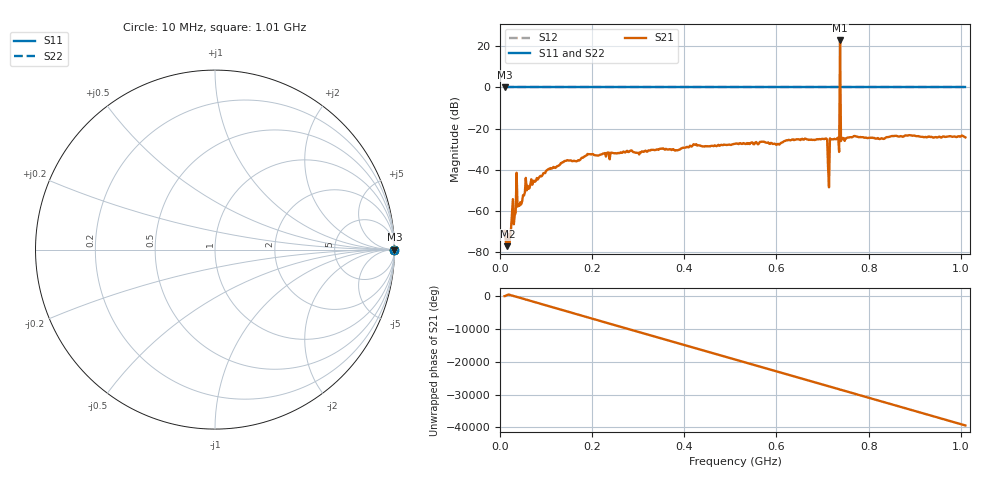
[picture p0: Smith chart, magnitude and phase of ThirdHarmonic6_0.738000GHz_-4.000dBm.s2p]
! 8/16/2025 12:41:16 AM
! C:\ANRITSUVNA\TEMP\TEMP.S2P
! CHANNEL.1
! TR.MEASUREMENT
! RAW.DATA
! RF.CORRECTION.OFF
! AVERAGING.OFF
! IF.BANDWIDTH: 5KHZ
! SWEEPTYPE:  FREQ.SWEEP(Linear)
! Reference Plane Port Info
! PORT:  PORT1  PORT2
! DISTANCE:  0  m  0  m
! TIME:  0  s  0  s
! PHASE.OFFSET:  0  deg.  0  deg.
! LOSS:  0  dB  0  dB
! REF.LOSS:  0  dB  0  dB
! REF.FREQ:  0  Hz  0  Hz
! Power Info
! POWER:  -20  dBm  -20  dBm
! EFF.POWER:  -20  dBm  -20  dBm
! SOURCE.ATTEN:  0  dB  0  dB
! TEST.ATTEN:  0  dB  0  dB
# GHZ S RI R 50.0
! FREQ.GHZ  S11RE  S11IM  S21RE  S21IM  S12RE  S12IM  S22RE  S22IM
!; PortSelection: Port_12
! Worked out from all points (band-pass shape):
!   501 points, 10 MHz to 1.01 GHz, reference 50 ohm
!   highest |S21| = 22.76 dB at 738 MHz (marker M1); lowest = -77.0 dB at 16 MHz (marker M2)
!   |S21| within 3 dB of the highest: 737.889 MHz to 738.123 MHz (234 kHz wide, 0.0317 % of centre)
!   lowest |S11| = 0.0 dB at 10 MHz (marker M3)
!   |S11| at or under -10 dB: nowhere
!   |S22| runs from 0.0 to 0.0 dB; largest |S21 - S12| = 13
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0.01  1 0  0.000211 0.000253  1 0  1 0
0.016  1 0  0.000102 9.7e-05  1 0  1 0
0.032  1 0  0.0008 -7.4e-05  1 0  1 0
0.04  1 0  0.00107 0.000981  1 0  1 0
0.044  1 0  -0.000664 -0.00149  1 0  1 0
0.058  1 0  0.00292 0.00131  1 0  1 0
0.106  1 0  -0.00759 -0.00741  1 0  1 0
0.178  1 0  -0.0192 -0.00446  1 0  1 0
0.344  1 0  0.0298 -0.0065  1 0  1 0
0.51  1 0  -0.04 0.015  1 0  1 0
0.678  1 0  -0.0244 -0.0471  1 0  1 0
0.706  1 0  -0.0553 -0.0143  1 0  1 0
0.71  1 0  0.0464 0.0288  1 0  1 0
0.714  1 0  -0.000571 -0.00374  1 0  1 0
0.72  1 0  0.0546 -0.00631  1 0  1 0
0.732  1 0  -0.0349 -0.0471  1 0  1 0
0.734  1 0  -0.0529 0.0298  1 0  1 0
0.738  1 0  6.923 -11.88  1 0  1 0
0.742  1 0  -0.059 -0.00671  1 0  1 0
0.744  1 0  -0.0153 0.0573  1 0  1 0
0.844  1 0  0.0447 0.0441  1 0  1 0
1.01  1 0  -0.0591 -0.0162  1 0  1 0
